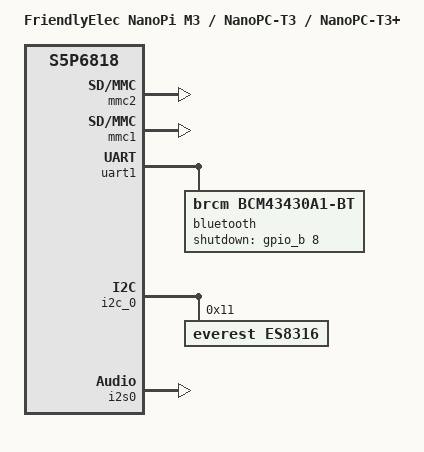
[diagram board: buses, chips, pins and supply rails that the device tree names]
// SPDX-License-Identifier: GPL-2.0
/*
 * FriendlyElec NanoPi M3 / NanoPC-T3 / NanoPC-T3+ (octa-core S5P6818).
 * The full-featured boards: on-board eMMC, SDIO WiFi + Bluetooth (AP6212 /
 * BCM43430) and an ES8316 analog audio codec on the 3.5 mm jack, on top of the
 * peripherals shared by the whole family (see s5p6818-nanopi3-common.dtsi).
 * The 2 GiB T3+ uses this same tree; u-boot fills in the real RAM size.
 */

/dts-v1/;
#include "s5p6818-nanopi3-common.dtsi"

/ {
	model = "FriendlyElec NanoPi M3 / NanoPC-T3 / NanoPC-T3+";
	compatible = "friendlyarm,nanopi-m3", "friendlyarm,nanopc-t3",
		     "nexell,s5p6818";

	/*
	 * Analog audio on the 3.5 mm jack: SoC I2S0 (master) -> ES8316 codec.
	 * HDMI audio (SPDIF) is not wired (no display support).
	 */
	sound {
		compatible = "simple-audio-card";
		simple-audio-card,name = "S5P6818-Audio";
		simple-audio-card,format = "i2s";
		simple-audio-card,mclk-fs = <256>;
		simple-audio-card,bitclock-master = <&sndcpu>;
		simple-audio-card,frame-master = <&sndcpu>;

		sndcpu: simple-audio-card,cpu {
			sound-dai = <&i2s0 0>;
		};

		simple-audio-card,codec {
			sound-dai = <&es8316>;
		};
	};
};

&mmc2 {		/* on-board eMMC */
	status = "okay";
};

&mmc1 {		/* SDIO WiFi */
	status = "okay";
};

&uart1 {	/* Bluetooth (AP6212 / BCM43430) */
	status = "okay";

	bluetooth {
		compatible = "brcm,bcm43430a1-bt";
		shutdown-gpios = <&gpio_b 8 GPIO_ACTIVE_HIGH>;	/* BT_REG_ON */
		max-speed = <2000000>;
	};
};

&i2c_0 {
	es8316: audio-codec@11 {
		compatible = "everest,es8316";
		reg = <0x11>;
		#sound-dai-cells = <0>;
	};
};

&i2s0 {
	status = "okay";
};
